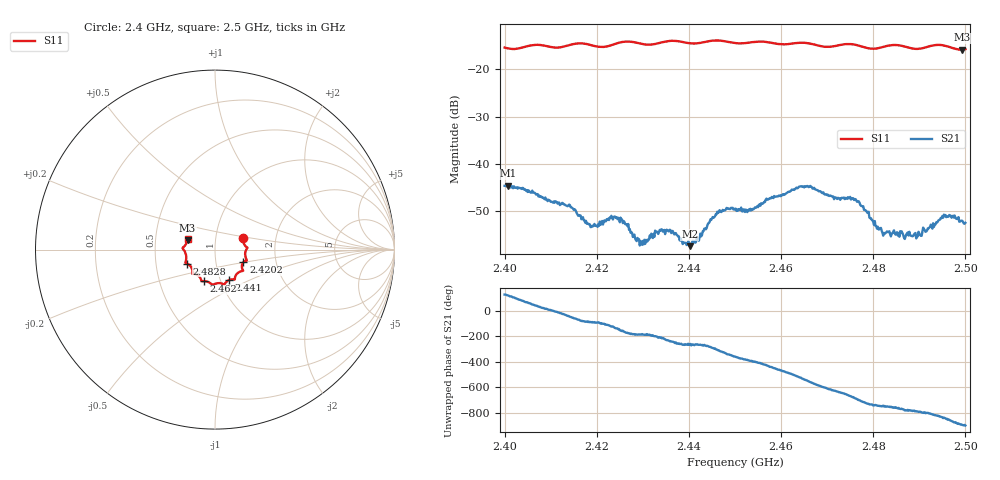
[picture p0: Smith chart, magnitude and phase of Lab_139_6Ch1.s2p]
# Hz S RI R 50
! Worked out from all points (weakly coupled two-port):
!   601 points, 2.4 GHz to 2.5 GHz, reference 50 ohm
!   highest |S21| = -44.62 dB at 2.4008 GHz (marker M1); lowest = -57.4 dB at 2.4402 GHz (marker M2)
!   lowest |S11| = -15.9 dB at 2.4993 GHz (marker M3), VSWR 1.38, Z = 36.6 + j3.82 ohm
!   |S11| at or under -10 dB: start of sweep to end of sweep
!   S12 and S22 are empty: the file has one direction only
!   S11 on the Smith chart (normalised r, x): 2.4 GHz: 1.36, +0.18; 2.4202 GHz: 1.36, -0.20; 2.441 GHz: 1.10, -0.39; 2.462 GHz: 0.84, -0.30; 2.4828 GHz: 0.72, -0.12; 2.5 GHz: 0.73, +0.09
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2.4e9  0.1572 0.0629  -0.00341 0.00477  0 0  0 0
2.400833e9  0.157 0.0535  -0.00271 0.00521  0 0  0 0
2.414167e9  0.1734 -0.0503  0.00243 -0.00275  0 0  0 0
2.416667e9  0.1778 -0.06  0.00036 -0.00257  0 0  0 0
2.420167e9  0.1584 -0.0705  -0.000168 -0.00215  0 0  0 0
2.424333e9  0.1528 -0.1088  -0.00211 -0.00174  0 0  0 0
2.429833e9  0.1381 -0.1232  -0.00139 0.000114  0 0  0 0
2.433333e9  0.1124 -0.1507  -0.00153 0.000982  0 0  0 0
2.440167e9  0.0872 -0.1669  -4.89e-05 0.00135  0 0  0 0
2.441e9  0.0786 -0.1696  -5.74e-05 0.0015  0 0  0 0
2.446333e9  0.0502 -0.1949  0.002 0.00227  0 0  0 0
2.45e9  0.0286 -0.187  0.00336 -0.000102  0 0  0 0
2.453167e9  -0.00149 -0.1915  0.00269 -0.00178  0 0  0 0
2.462e9  -0.0603 -0.1754  -0.00357 -0.0037  0 0  0 0
2.466667e9  -0.0775 -0.1682  -0.00512 0.00247  0 0  0 0
2.4765e9  -0.1258 -0.1279  0.00359 0.00171  0 0  0 0
2.482833e9  -0.1575 -0.0775  0.00157 -0.00105  0 0  0 0
2.483333e9  -0.1605 -0.0763  0.00158 -0.00106  0 0  0 0
2.489833e9  -0.1623 -0.0255  0.000498 -0.00185  0 0  0 0
2.4955e9  -0.1773 0.013  -0.00148 -0.00239  0 0  0 0
2.499333e9  -0.153 0.0509  -0.0025 -0.000122  0 0  0 0
2.5e9  -0.1515 0.0607  -0.00238 4.26e-05  0 0  0 0
